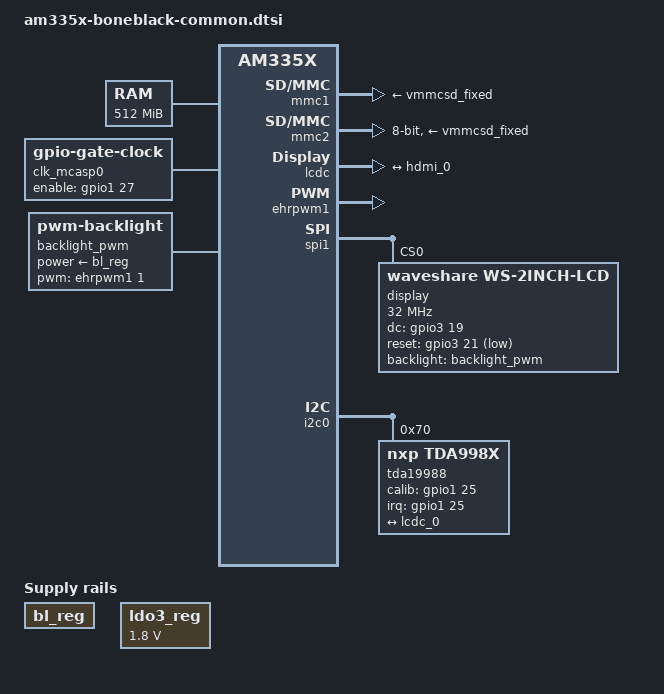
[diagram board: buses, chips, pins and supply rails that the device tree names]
// SPDX-License-Identifier: GPL-2.0-only
/*
 * Copyright (C) 2012 Texas Instruments Incorporated - http://www.ti.com/
 */

#include <dt-bindings/display/tda998x.h>
#include <dt-bindings/interrupt-controller/irq.h>

&ldo3_reg {
	regulator-min-microvolt = <1800000>;
	regulator-max-microvolt = <1800000>;
	regulator-always-on;
};

&mmc1 {
	vmmc-supply = <&vmmcsd_fixed>;
};

&mmc2 {
	vmmc-supply = <&vmmcsd_fixed>;
	pinctrl-names = "default";
	pinctrl-0 = <&emmc_pins>;
	bus-width = <8>;
	status = "okay";
};

&am33xx_pinmux {
	nxp_hdmi_bonelt_pins: nxp_hdmi_bonelt_pins {
		pinctrl-single,pins = <
			AM33XX_PADCONF(AM335X_PIN_XDMA_EVENT_INTR0, PIN_OUTPUT_PULLDOWN, MUX_MODE3)
			AM33XX_PADCONF(AM335X_PIN_LCD_DATA0, PIN_OUTPUT, MUX_MODE0)
			AM33XX_PADCONF(AM335X_PIN_LCD_DATA1, PIN_OUTPUT, MUX_MODE0)
			AM33XX_PADCONF(AM335X_PIN_LCD_DATA2, PIN_OUTPUT, MUX_MODE0)
			AM33XX_PADCONF(AM335X_PIN_LCD_DATA3, PIN_OUTPUT, MUX_MODE0)
			AM33XX_PADCONF(AM335X_PIN_LCD_DATA4, PIN_OUTPUT, MUX_MODE0)
			AM33XX_PADCONF(AM335X_PIN_LCD_DATA5, PIN_OUTPUT, MUX_MODE0)
			AM33XX_PADCONF(AM335X_PIN_LCD_DATA6, PIN_OUTPUT, MUX_MODE0)
			AM33XX_PADCONF(AM335X_PIN_LCD_DATA7, PIN_OUTPUT, MUX_MODE0)
			AM33XX_PADCONF(AM335X_PIN_LCD_DATA8, PIN_OUTPUT, MUX_MODE0)
			AM33XX_PADCONF(AM335X_PIN_LCD_DATA9, PIN_OUTPUT, MUX_MODE0)
			AM33XX_PADCONF(AM335X_PIN_LCD_DATA10, PIN_OUTPUT, MUX_MODE0)
			AM33XX_PADCONF(AM335X_PIN_LCD_DATA11, PIN_OUTPUT, MUX_MODE0)
			AM33XX_PADCONF(AM335X_PIN_LCD_DATA12, PIN_OUTPUT, MUX_MODE0)
			AM33XX_PADCONF(AM335X_PIN_LCD_DATA13, PIN_OUTPUT, MUX_MODE0)
			AM33XX_PADCONF(AM335X_PIN_LCD_DATA14, PIN_OUTPUT, MUX_MODE0)
			AM33XX_PADCONF(AM335X_PIN_LCD_DATA15, PIN_OUTPUT, MUX_MODE0)
			AM33XX_PADCONF(AM335X_PIN_LCD_VSYNC, PIN_OUTPUT_PULLDOWN, MUX_MODE0)
			AM33XX_PADCONF(AM335X_PIN_LCD_HSYNC, PIN_OUTPUT_PULLDOWN, MUX_MODE0)
			AM33XX_PADCONF(AM335X_PIN_LCD_PCLK, PIN_OUTPUT_PULLDOWN, MUX_MODE0)
			AM33XX_PADCONF(AM335X_PIN_LCD_AC_BIAS_EN, PIN_OUTPUT_PULLDOWN, MUX_MODE0)
		>;
	};

	nxp_hdmi_bonelt_off_pins: nxp_hdmi_bonelt_off_pins {
		pinctrl-single,pins = <
			AM33XX_PADCONF(AM335X_PIN_XDMA_EVENT_INTR0, PIN_OUTPUT_PULLDOWN, MUX_MODE3)
		>;
	};
        spi1_pins: spi1_pins {
           pinctrl-single,pins = <
                AM33XX_PADCONF(AM335X_PIN_MCASP0_ACLKX, PIN_INPUT, MUX_MODE3)   /*SPI1_SCLK*/
                AM33XX_PADCONF(AM335X_PIN_MCASP0_FSX, PIN_INPUT, MUX_MODE3)     /*SPI1_D0  */                
                AM33XX_PADCONF(AM335X_PIN_MCASP0_AXR0, PIN_INPUT, MUX_MODE3)   /*SPI1_D1  */
                AM33XX_PADCONF(AM335X_PIN_MCASP0_AHCLKR, PIN_INPUT, MUX_MODE3) /*SPI1_CS0 */
                AM33XX_PADCONF(AM335X_PIN_MCASP0_FSR, PIN_OUTPUT_PULLUP, MUX_MODE7)    /*GPIO3_19 */
                AM33XX_PADCONF(AM335X_PIN_MCASP0_AHCLKX, PIN_OUTPUT_PULLUP, MUX_MODE7) /*GPIO3_21 */
        >;
    };
    backlight_pwm_pins: pinmux_backlight_pwm_pins {
        pinctrl-single,pins = <
                AM33XX_PADCONF(AM335X_PIN_GPMC_A3, PIN_OUTPUT, MUX_MODE6)              /*GPMC_A3->EHRPWM1B */
        >;
    };  /* gpmc_a2.ehrpwm1b */  

};

&lcdc {
	status = "okay";

	/* If you want to get 24 bit RGB and 16 BGR mode instead of
	 * current 16 bit RGB and 24 BGR modes, set the propety
	 * below to "crossed" and uncomment the video-ports -property
	 * in tda19988 node.
	 */
	blue-and-red-wiring = "straight";

	port {
		lcdc_0: endpoint@0 {
			remote-endpoint = <&hdmi_0>;
		};
	};
};

/*<mGaik>*/
&ehrpwm1 {
     pinctrl-names = "default";
     pinctrl-0 = <&backlight_pwm_pins>;
     status = "okay";
};

&spi1 {
        #address-cells = <1>;
     	#size-cells = <0>;

    	status = "okay";
        pinctrl-names = "default";
        pinctrl-0 = <&spi1_pins>;
    	channel@0{
	   	     status = "disabled";
		     reg = <0>;
	    };
    	display@0{
	            status = "okay";
		    //compatible = "adafruit,yx240qv29", "ilitek,ili9341"; //this makes ili9341 visible once we do lsmod
                    //compatible = "jianda,jd-t18003-t01", "sitronix,st7735r";
                    compatible = "waveshare,ws-2inch-lcd", "sitronix,st7789v";
                    //compatible = "sitronix,st7789v";
		    reg = <0>;
		    //spi-max-frequency = <100000>;
		    spi-max-frequency = <32000000>;
		    spi-cpol;
                    spi-cpha;
		    dc-gpios    = <&gpio3 19 0>;   // lcd dc    P9.27 gpio3[19]
		    //reset-gpios = <&gpio3 21 0>;   // lcd reset P9.25 gpio3[21]
		    reset-gpios = <&gpio3 21 1>;   // lcd reset P9.25 gpio3[21]
     		    // backlight is optional
	    	    // choose either pwm or gpio control
		    backlight = <&backlight_pwm>;    // lcd lite  P9.16 gpmc_a2.ehrpwm1b
		    // refer to https://elinux.org/Beagleboard:Cape_Expansion_Headers
		    // rotation is optional
		    rotation = <180>;
                    buswidth = <8>;
                    //debug = <7>;
	   };
};

//panel@0 {
//        compatible = "sitronix,st7789v";
//        reg = <0>;
//        reset-gpios = <&pio 6 11 GPIO_ACTIVE_LOW>;
//        backlight = <&pwm_bl>;
//        spi-max-frequency = <100000>;
//        spi-cpol;
//        spi-cpha;

//        port {
//                panel_input: endpoint {
//                        remote-endpoint = <&tcon0_out_panel>;
//                };
//        };
//};


&i2c0 {
	tda19988: tda19988@70 {
		compatible = "nxp,tda998x";
		reg = <0x70>;
		nxp,calib-gpios = <&gpio1 25 0>;
		interrupts-extended = <&gpio1 25 IRQ_TYPE_LEVEL_LOW>;

		pinctrl-names = "default", "off";
		pinctrl-0 = <&nxp_hdmi_bonelt_pins>;
		pinctrl-1 = <&nxp_hdmi_bonelt_off_pins>;

		/* Convert 24bit BGR to RGB, e.g. cross red and blue wiring */
		/* video-ports = <0x234501>; */

		#sound-dai-cells = <0>;
		audio-ports = <	TDA998x_I2S	0x03>;

		ports {
			port@0 {
				hdmi_0: endpoint@0 {
					remote-endpoint = <&lcdc_0>;
				};
			};
		};
	};
};

&rtc {
	system-power-controller;
};

//&mcasp0	{
//	status = "disabled";	
//};

/ {
        bl_reg: backlight-regulator {
           compatible = "regulator-fixed";
           regulator-name = "backlight";
           regulator-always-on;
           regulator-boot-on;
           //regulator-min-microvolt = <1800000>;
	   //regulator-max-microvolt = <1800000>;
        };
	memory@80000000 {
		device_type = "memory";
		reg = <0x80000000 0x20000000>; /* 512 MB */
	};

	clk_mcasp0_fixed: clk_mcasp0_fixed {
		#clock-cells = <0>;
		compatible = "fixed-clock";
		clock-frequency = <24576000>;
	};

	clk_mcasp0: clk_mcasp0 {
		#clock-cells = <0>;
		compatible = "gpio-gate-clock";
		clocks = <&clk_mcasp0_fixed>;
		enable-gpios = <&gpio1 27 0>; /* BeagleBone Black Clk enable on GPIO1_27 */
	};
        backlight_pwm: backlight_pwm {
           // P9.16 <--> lite (pwm-backlight EHRPWM1B)
           status = "okay";
           compatible = "pwm-backlight";
           pwms = <&ehrpwm1 1 500000 0>;    // First digit: 0 for A side of pwm, 1 for B side
                                            // 500000 is the PWM period in ns
           brightness-levels = <
                0  1  2  3  4  5  6  7  8  9
                10 11 12 13 14 15 16 17 18 19
                20 21 22 23 24 25 26 27 28 29
                30 31 32 33 34 35 36 37 38 39
                40 41 42 43 44 45 46 47 48 49
                50 51 52 53 54 55 56 57 58 59
                60 61 62 63 64 65 66 67 68 69
                70 71 72 73 74 75 76 77 78 79
                80 81 82 83 84 85 86 87 88 89
                90 91 92 93 94 95 96 97 98 99
                100
           >;
           default-brightness-level = <100>;
           power-supply = <&bl_reg>;
     };  
};
